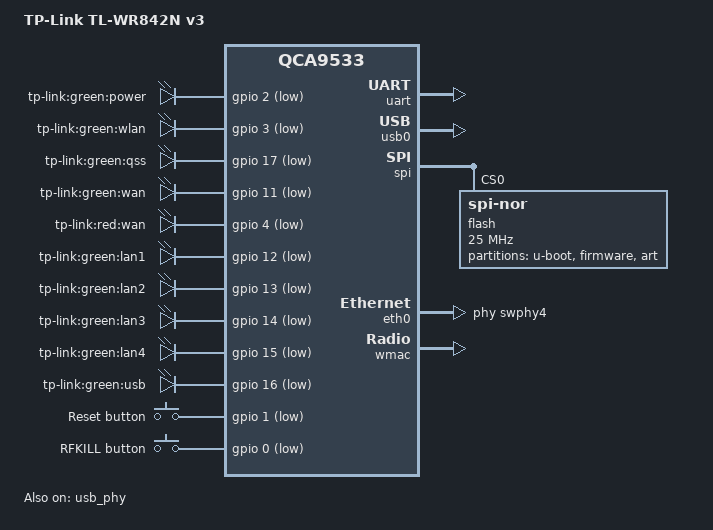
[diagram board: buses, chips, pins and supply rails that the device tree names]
// SPDX-License-Identifier: GPL-2.0-or-later OR MIT
/dts-v1/;

#include <dt-bindings/gpio/gpio.h>
#include <dt-bindings/input/input.h>

#include "qca953x.dtsi"

/ {
	compatible = "tplink,tl-wr842n-v3", "qca,qca9533";
	model = "TP-Link TL-WR842N v3";

	aliases {
		led-boot = &led_power;
		led-failsafe = &led_power;
		led-running = &led_power;
		led-upgrade = &led_power;
		label-mac-device = &eth1;
	};

	leds {
		compatible = "gpio-leds";

		led_power: power {
			label = "tp-link:green:power";
			gpios = <&gpio 2 GPIO_ACTIVE_LOW>;
			default-state = "on";
		};

		wifi {
			label = "tp-link:green:wlan";
			gpios = <&gpio 3 GPIO_ACTIVE_LOW>;
			linux,default-trigger = "phy0tpt";
		};

		qss {
			label = "tp-link:green:qss";
			gpios = <&gpio 17 GPIO_ACTIVE_LOW>;
		};

		wan_green {
			label = "tp-link:green:wan";
			gpios = <&gpio 11 GPIO_ACTIVE_LOW>;
		};

		wan_red {
			label = "tp-link:red:wan";
			gpios = <&gpio 4 GPIO_ACTIVE_LOW>;
		};

		lan1 {
			label = "tp-link:green:lan1";
			gpios = <&gpio 12 GPIO_ACTIVE_LOW>;
		};

		lan2 {
			label = "tp-link:green:lan2";
			gpios = <&gpio 13 GPIO_ACTIVE_LOW>;
		};

		lan3 {
			label = "tp-link:green:lan3";
			gpios = <&gpio 14 GPIO_ACTIVE_LOW>;
		};

		lan4 {
			label = "tp-link:green:lan4";
			gpios = <&gpio 15 GPIO_ACTIVE_LOW>;
		};

		usb {
			label = "tp-link:green:usb";
			gpios = <&gpio 16 GPIO_ACTIVE_LOW>;
			linux,default-trigger = "usbport";
			trigger-sources = <&hub_port>;
		};
	};

	keys {
		compatible = "gpio-keys";

		reset {
			label = "Reset button";
			linux,code = <KEY_RESTART>;
			gpios = <&gpio 1 GPIO_ACTIVE_LOW>;
			debounce-interval = <60>;
		};

		rfkill {
			label = "RFKILL button";
			linux,code = <KEY_RFKILL>;
			gpios = <&gpio 0 GPIO_ACTIVE_LOW>;
			debounce-interval = <60>;
		};
	};
};

&uart {
	status = "okay";
};

&usb0 {
	#address-cells = <1>;
	#size-cells = <0>;
	status = "okay";

	hub_port: port@1 {
		reg = <1>;
		#trigger-source-cells = <0>;
	};
};

&usb_phy {
	status = "okay";
};

&spi {
	status = "okay";

	num-cs = <1>;

	flash@0 {
		compatible = "jedec,spi-nor";
		reg = <0>;
		spi-max-frequency = <25000000>;

		partitions {
			compatible = "fixed-partitions";
			#address-cells = <1>;
			#size-cells = <1>;

			uboot: partition@0 {
				label = "u-boot";
				reg = <0x000000 0x020000>;
				read-only;
			};

			partition@20000 {
				compatible = "tplink,firmware";
				label = "firmware";
				reg = <0x020000 0xfd0000>;
			};

			art: partition@ff0000 {
				label = "art";
				reg = <0xff0000 0x010000>;
				read-only;
			};
		};
	};
};

&eth1 {
	mtd-mac-address = <&uboot 0x1fc00>;
};

&eth0 {
	status = "okay";

	phy-handle = <&swphy4>;

	mtd-mac-address = <&uboot 0x1fc00>;
	mtd-mac-address-increment = <1>;
};

&wmac {
	status = "okay";

	mtd-cal-data = <&art 0x1000>;
	mtd-mac-address = <&uboot 0x1fc00>;
};
